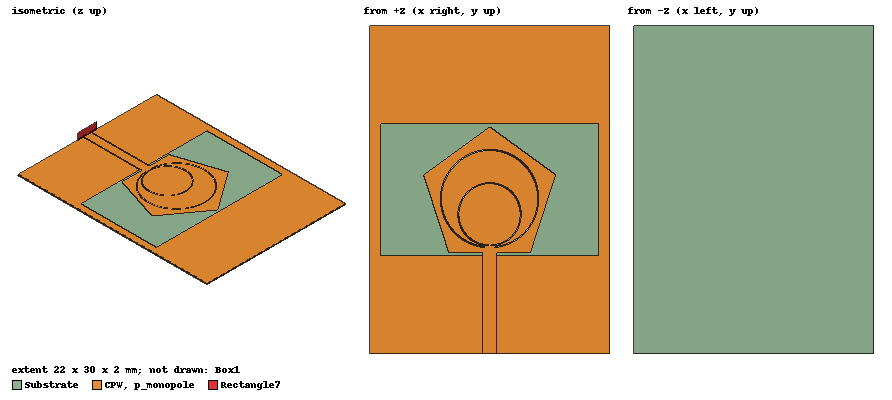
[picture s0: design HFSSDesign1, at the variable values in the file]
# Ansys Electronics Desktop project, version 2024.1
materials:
  vacuum: permittivity=1
  Plastic, LCP: permittivity=3.19374 conductivity=3.15469e-14 dielectric_loss_tangent=0.0173205
  air: permittivity=1.0006 permeability=1.0000004

design HFSSDesign1 (HFSS, HFSS Terminal Network, model units mm)
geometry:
  CPW = rectangle(corner=((-22/2) mm, (30/2) mm, 0mm), x_size=22mm, y_size=-30mm)
  Polyline1 = polyline((0.15mm, -6.35mm, 0mm) (10mm, -6.35mm, 0mm))
  Polyline2 = polyline((0.15mm, -6.35mm, 0mm) (-10mm, -6.35mm, 0mm))
  p_monopole = regular_polygon(axis=Z, centre=(0mm, 0mm, 0mm), first_corner=(0mm, 6.35mm, 0mm), sides=5)
  p_monopole.move(0mm, -1.2127421mm, 0mm)
  Rectangle2 = rectangle(corner=(-0.6mm, 0mm, 0mm), x_size=1.2mm, y_size=-15mm)
  Rectangle3 = rectangle(corner=(-10mm, 6mm, 0mm), x_size=20mm, y_size=-12mm)
  Rectangle4 = rectangle(corner=(-0.65mm, 0mm, 0mm), x_size=1.3mm, y_size=-15mm)
  Rectangle4.unite(Rectangle3)
  CPW.subtract(Rectangle4)
  CPW.move(0mm, -0.606371041mm, 0mm)
  Substrate [Plastic, LCP] = box(corner=(-11mm, 14.393629mm, 0mm), size=(22mm, -30mm, -0.1mm))
  R1 = circle(normal=Z, centre=(0mm, -2.8718145mm, 0mm), radius=2.9mm)
  Circle2 = circle(normal=Z, centre=(0mm, -2.8718145mm, 0mm), radius=2.8mm)
  R1.subtract(Circle2)
  Rectangle5 = rectangle(corner=(-0.1mm, -5.6mm, 0mm), x_size=0.2mm, y_size=-0.4mm)
  R1.subtract(Rectangle5)
  R2 = circle(normal=Z, centre=(0mm, -1.4359072mm, 0mm), radius=4.5mm)
  Circle4 = circle(normal=Z, centre=(0mm, -1.4359072mm, 0mm), radius=4.4mm)
  Rectangle6 = rectangle(corner=(-0.5mm, -5.7mm, 0mm), x_size=1mm, y_size=-0.4mm)
  R2.subtract(Circle4, Rectangle6)
  Rectangle2.move(0mm, -0.606371041mm, 0mm)
  p_monopole.unite(Rectangle2)
  p_monopole.subtract(R1, R2)
  Box1 [air] = box(corner=(-50mm, -50mm, -5mm), size=(100mm, 100mm, 10mm))
  coordinate_system RelativeCS1 = origin=(0mm, -15.606371mm, 0mm) x=(1mm, 0mm, 0mm) y=(0mm, 1mm, 0mm)
  Rectangle7 = rectangle(corner=(-1.5mm, 0mm, 1mm), z_size=-2mm, x_size=3mm) in RelativeCS1
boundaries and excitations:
  PerfE1: Perfect E Objects=p_monopole
  Rad1: Radiation Objects=Box1
  PerfE2: Perfect E Objects=CPW
  1: Lumped Port Objects=Rectangle7 LumpedPortType=Modal Modes{Mode1{IntLine{(0, -15.606371, -1) -> (0, -15.606371, 1)} CharImp=Zpi}} Impedance=50ohm
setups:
  Setup1: HfssDriven Frequency=2.45GHz MaxDeltaS=0.02 MaximumPasses=6 MinimumPasses=1 MinimumConvergedPasses=1 PercentRefinement=30 BasisOrder=1 PortAccuracy=2 DrivenSolverType="Direct Solver"
    sweep Sweep: 1.225GHz to 3.675GHz, 401 points; Type=Fast SaveFields
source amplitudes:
  1:1: 1V 0deg
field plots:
  Mag_Jsurf1: Jsurf over CPW.face(at (0, -0.606371, 0)) p_monopole.face(at (0, -5.17233, 0)) on Setup1 : LastAdaptive at Freq=2.45GHz Phase=0deg
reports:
  S Parameter Plot 2: dB(S(1,1)) vs Freq on Setup1 : Sweep
  Terminal S Parameter Plot 1: dB(St(1,1)) vs Freq on Setup1 : Sweep
  S Parameter Plot 3: dB(S(1,1)) vs Freq on Setup1 : Sweep
